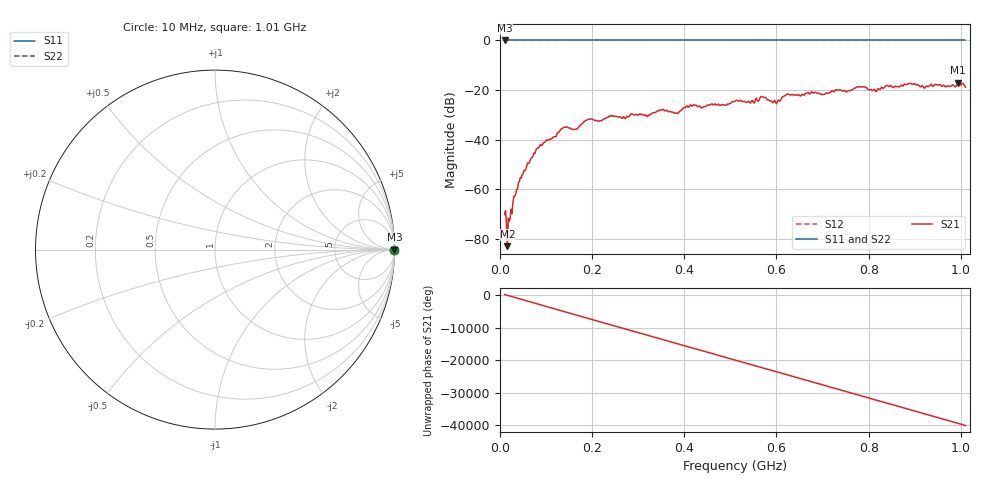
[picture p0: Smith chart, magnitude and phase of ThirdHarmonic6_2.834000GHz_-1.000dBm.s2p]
! 8/17/2025 7:34:35 AM
! C:\ANRITSUVNA\TEMP\TEMP.S2P
! CHANNEL.1
! TR.MEASUREMENT
! RAW.DATA
! RF.CORRECTION.OFF
! AVERAGING.OFF
! IF.BANDWIDTH: 5KHZ
! SWEEPTYPE:  FREQ.SWEEP(Linear)
! Reference Plane Port Info
! PORT:  PORT1  PORT2
! DISTANCE:  0  m  0  m
! TIME:  0  s  0  s
! PHASE.OFFSET:  0  deg.  0  deg.
! LOSS:  0  dB  0  dB
! REF.LOSS:  0  dB  0  dB
! REF.FREQ:  0  Hz  0  Hz
! Power Info
! POWER:  -20  dBm  -20  dBm
! EFF.POWER:  -20  dBm  -20  dBm
! SOURCE.ATTEN:  0  dB  0  dB
! TEST.ATTEN:  0  dB  0  dB
# GHZ S RI R 50.0
! FREQ.GHZ  S11RE  S11IM  S21RE  S21IM  S12RE  S12IM  S22RE  S22IM
!; PortSelection: Port_12
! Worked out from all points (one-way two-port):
!   501 points, 10 MHz to 1.01 GHz, reference 50 ohm
!   highest |S21| = -17.04 dB at 994 MHz (marker M1); lowest = -83.0 dB at 16 MHz (marker M2)
!   lowest |S11| = 0.0 dB at 10 MHz (marker M3)
!   |S11| at or under -10 dB: nowhere
!   |S22| runs from 0.0 to 0.0 dB; largest |S21 - S12| = 1.1
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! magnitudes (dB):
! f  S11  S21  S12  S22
! 10 MHz  0.0  -70.3  0.0  0.0
! 16 MHz  0.0  -83.0  0.0  0.0
! 20 MHz  0.0  -73.0  0.0  0.0
! 32 MHz  0.0  -62.9  0.0  0.0
! 44 MHz  0.0  -55.3  0.0  0.0
! 82 MHz  0.0  -43.3  0.0  0.0
! 136 MHz  0.0  -35.5  0.0  0.0
! 164 MHz  0.0  -35.9  0.0  0.0
! 178 MHz  0.0  -33.6  0.0  0.0
! 344 MHz  0.0  -28.5  0.0  0.0
! 382 MHz  0.0  -29.2  0.0  0.0
! 416 MHz  0.0  -26.5  0.0  0.0
! 510 MHz  0.0  -24.5  0.0  0.0
! 548 MHz  0.0  -24.2  0.0  0.0
! 570 MHz  0.0  -22.7  0.0  0.0
! 596 MHz  0.0  -24.1  0.0  0.0
! 624 MHz  0.0  -21.6  0.0  0.0
! 678 MHz  0.0  -20.9  0.0  0.0
! 814 MHz  0.0  -20.0  0.0  0.0
! 844 MHz  0.0  -18.6  0.0  0.0
! 994 MHz  0.0  -17.0  0.0  0.0
! 1.01 GHz  0.0  -18.9  0.0  0.0
